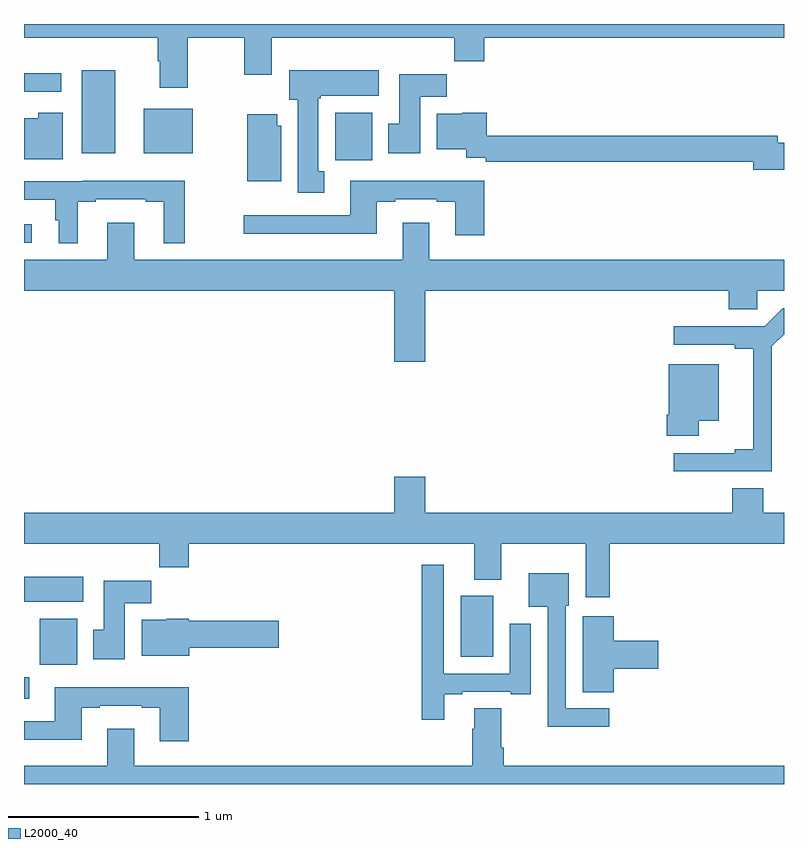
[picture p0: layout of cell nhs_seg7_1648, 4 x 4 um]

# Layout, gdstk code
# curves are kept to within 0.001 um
import gdstk
lib = gdstk.Library(unit=1e-6, precision=1e-09)
def R(c, l, rs):  # rectangles x0, y0, x1, y1
    for r in rs: c.add(gdstk.rectangle(r[:2], r[2:], *l))
def P(c, l, *ps):  # polygons
    for p in ps: c.add(gdstk.Polygon(p, *l))
L2000_40 = (2000, 40)

nhs_seg7_1648 = lib.new_cell('nhs_seg7_1648')
R(nhs_seg7_1648, L2000_40, [(223,1018.449,223.027,1018.562), (223.082,1018.628,223.279,1018.87), (225.299,1018.67,225.469,1018.99), (223,1018.958,223.312,1019.092), (223,1020.849,223.042,1020.946), (224.637,1021.284,224.833,1021.534), (223.304,1021.319,223.48,1021.756), (223.631,1021.319,223.888,1021.555), (223,1021.643,223.195,1021.742)])
P(nhs_seg7_1648, L2000_40, [(223.863,1021.928),(224.158,1021.928),(224.158,1021.734),(224.305,1021.734),(224.305,1021.928),(225.265,1021.928),(225.265,1021.804),(225.422,1021.804),(225.422,1021.928),(227,1021.928),(227,1022),(223,1022),(223,1021.928),(223.703,1021.928),(223.703,1021.805),(223.715,1021.805),(223.715,1021.665),(223.863,1021.665)],
  [(224.581,1021.225),(224.548,1021.225),(224.548,1021.609),(224.562,1021.609),(224.562,1021.622),(224.866,1021.622),(224.866,1021.756),(224.396,1021.756),(224.396,1021.602),(224.441,1021.602),(224.441,1021.113),(224.581,1021.113)],
  [(225.085,1021.616),(225.224,1021.616),(225.224,1021.735),(224.975,1021.735),(224.975,1021.476),(224.918,1021.476),(224.918,1021.32),(225.085,1021.32)],
  [(223.204,1021.534),(223.075,1021.534),(223.075,1021.504),(223,1021.504),(223,1021.289),(223.204,1021.289)],
  [(227,1021.376),(226.966,1021.376),(226.966,1021.412),(225.436,1021.412),(225.436,1021.534),(225.306,1021.534),(225.306,1021.528),(225.173,1021.528),(225.173,1021.34),(225.327,1021.34),(225.327,1021.296),(225.43,1021.296),(225.43,1021.276),(226.838,1021.276),(226.838,1021.234),(227,1021.234)],
  [(224.353,1021.464),(224.332,1021.464),(224.332,1021.525),(224.174,1021.525),(224.174,1021.172),(224.353,1021.172)],
  [(225.422,1021.174),(224.717,1021.174),(224.717,1020.993),(224.157,1020.993),(224.157,1020.896),(224.857,1020.896),(224.857,1021.065),(224.953,1021.065),(224.953,1021.077),(225.173,1021.077),(225.173,1021.065),(225.269,1021.065),(225.269,1020.888),(225.422,1020.888)],
  [(223.282,1021.065),(223.378,1021.065),(223.378,1021.077),(223.64,1021.077),(223.64,1021.065),(223.736,1021.065),(223.736,1020.845),(223.846,1020.845),(223.846,1021.174),(223.308,1021.174),(223.308,1021.173),(223,1021.173),(223,1021.076),(223.165,1021.076),(223.165,1020.966),(223.184,1020.966),(223.184,1020.845),(223.282,1020.845)],
  [(225.112,1020.596),(226.709,1020.596),(226.709,1020.498),(226.86,1020.498),(226.86,1020.596),(227,1020.596),(227,1020.76),(225.133,1020.76),(225.133,1020.955),(224.993,1020.955),(224.993,1020.76),(223.579,1020.76),(223.579,1020.955),(223.439,1020.955),(223.439,1020.76),(223,1020.76),(223,1020.596),(224.948,1020.596),(224.948,1020.222),(225.112,1020.222)],
  [(226.631,1019.646),(226.935,1019.646),(226.935,1020.303),(227,1020.368),(227,1020.504),(226.994,1020.504),(226.898,1020.408),(226.665,1020.408),(226.665,1020.41),(226.419,1020.41),(226.419,1020.312),(226.742,1020.312),(226.742,1020.292),(226.838,1020.292),(226.838,1019.762),(226.742,1019.762),(226.742,1019.742),(226.419,1019.742),(226.419,1019.645)],
  [(226.552,1019.912),(226.657,1019.912),(226.657,1020.208),(226.394,1020.208),(226.394,1019.944),(226.382,1019.944),(226.382,1019.832),(226.552,1019.832)],
  [(226.082,1019.264),(227,1019.264),(227,1019.428),(226.891,1019.428),(226.891,1019.557),(226.727,1019.557),(226.727,1019.428),(225.112,1019.428),(225.112,1019.617),(224.948,1019.617),(224.948,1019.428),(223,1019.428),(223,1019.264),(223.711,1019.264),(223.711,1019.14),(223.868,1019.14),(223.868,1019.264),(225.371,1019.264),(225.371,1019.075),(225.511,1019.075),(225.511,1019.264),(225.956,1019.264),(225.956,1018.983),(226.082,1018.983)],
  [(225.211,1018.473),(225.307,1018.473),(225.307,1018.485),(225.563,1018.485),(225.563,1018.473),(225.667,1018.473),(225.667,1018.843),(225.557,1018.843),(225.557,1018.581),(225.21,1018.581),(225.21,1019.155),(225.094,1019.155),(225.094,1018.338),(225.211,1018.338)],
  [(226.081,1018.398),(225.852,1018.398),(225.852,1018.938),(225.868,1018.938),(225.868,1019.11),(225.656,1019.11),(225.656,1018.934),(225.756,1018.934),(225.756,1018.301),(226.081,1018.301)],
  [(223.531,1018.952),(223.67,1018.952),(223.67,1019.071),(223.421,1019.071),(223.421,1018.812),(223.364,1018.812),(223.364,1018.656),(223.531,1018.656)],
  [(226.103,1018.607),(226.339,1018.607),(226.339,1018.754),(226.103,1018.754),(226.103,1018.882),(225.941,1018.882),(225.941,1018.483),(226.103,1018.483)],
  [(223.87,1018.718),(224.341,1018.718),(224.341,1018.86),(223.866,1018.86),(223.866,1018.87),(223.752,1018.87),(223.752,1018.864),(223.619,1018.864),(223.619,1018.676),(223.87,1018.676)],
  [(223.868,1018.51),(223.163,1018.51),(223.163,1018.329),(223,1018.329),(223,1018.232),(223.303,1018.232),(223.303,1018.401),(223.399,1018.401),(223.399,1018.413),(223.619,1018.413),(223.619,1018.401),(223.715,1018.401),(223.715,1018.224),(223.868,1018.224)],
  [(227,1018.096),(225.524,1018.096),(225.524,1018.192),(225.511,1018.192),(225.511,1018.4),(225.371,1018.4),(225.371,1018.292),(225.359,1018.292),(225.359,1018.096),(223.579,1018.096),(223.579,1018.291),(223.439,1018.291),(223.439,1018.096),(223,1018.096),(223,1018),(227,1018)])

lib.write_gds('nhs_seg7_1648.gds')
